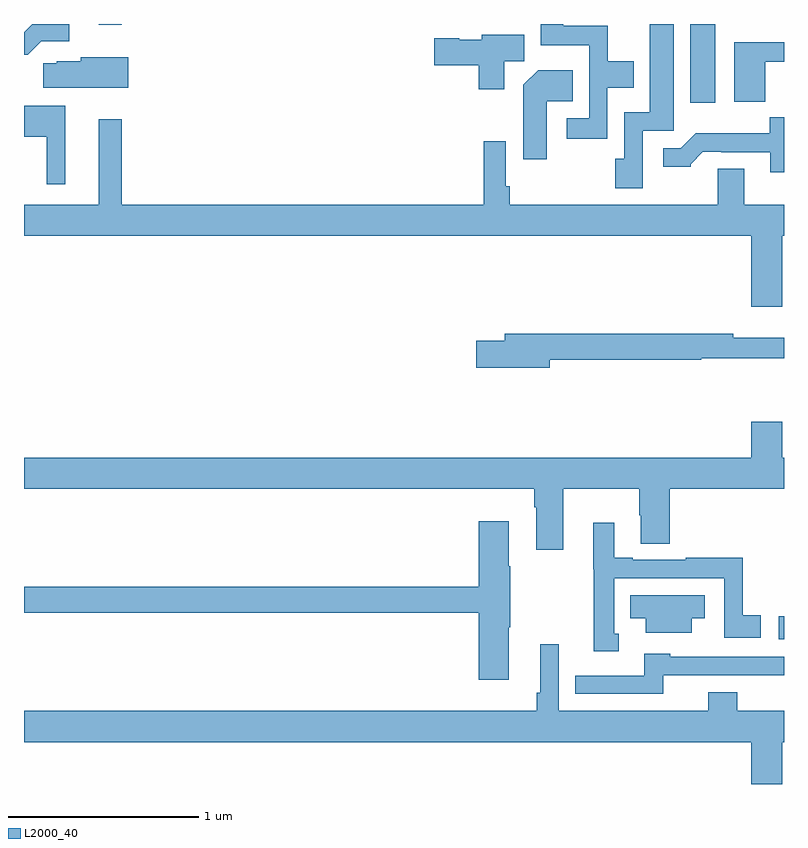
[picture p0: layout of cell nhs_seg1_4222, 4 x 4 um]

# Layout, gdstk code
import gdstk
lib = gdstk.Library(unit=1e-6, precision=1e-09)
def R(c, l, rs):  # rectangles x0, y0, x1, y1
    for r in rs: c.add(gdstk.rectangle(r[:2], r[2:], *l))
def P(c, l, *ps):  # polygons
    for p in ps: c.add(gdstk.Polygon(p, *l))
L2000_40 = (2000, 40)

nhs_seg1_4222 = lib.new_cell('nhs_seg1_4222')
R(nhs_seg1_4222, L2000_40, [(344.973,530.961,345,531.081), (344.507,533.784,344.638,534.199), (341.393,534.195,341.515,534.199)])
P(nhs_seg1_4222, L2000_40, [(341.091,534.108),(341.239,534.108),(341.239,534.199),(341.044,534.199),(341,534.155),(341,534.038),(341.021,534.038)],
  [(344.07,533.864),(344.209,533.864),(344.209,534.004),(344.073,534.004),(344.073,534.19),(343.837,534.19),(343.837,534.199),(343.721,534.199),(343.721,534.086),(343.974,534.086),(343.974,533.703),(343.857,533.703),(343.857,533.595),(344.07,533.595)],
  [(344.256,533.637),(344.419,533.637),(344.419,534.199),(344.294,534.199),(344.294,533.734),(344.16,533.734),(344.16,533.49),(344.113,533.49),(344.113,533.334),(344.256,533.334)],
  [(343.528,534.004),(343.633,534.004),(343.633,534.142),(343.41,534.142),(343.41,534.115),(343.29,534.115),(343.29,534.123),(343.158,534.123),(343.158,533.981),(343.394,533.981),(343.394,533.856),(343.528,533.856)],
  [(344.9,534.001),(345,534.001),(345,534.102),(344.738,534.102),(344.738,533.789),(344.9,533.789)],
  [(341.548,534.025),(341.298,534.025),(341.298,534.004),(341.172,534.004),(341.172,533.993),(341.1,533.993),(341.1,533.864),(341.548,533.864)],
  [(343.75,533.792),(343.889,533.792),(343.889,533.956),(343.706,533.956),(343.628,533.878),(343.628,533.487),(343.75,533.487)],
  [(341.218,533.77),(341,533.77),(341,533.606),(341.12,533.606),(341.12,533.355),(341.218,533.355)],
  [(345,533.707),(344.925,533.707),(344.925,533.623),(344.536,533.623),(344.457,533.544),(344.364,533.544),(344.364,533.447),(344.508,533.447),(344.508,533.462),(344.572,533.526),(344.671,533.526),(344.671,533.523),(344.927,533.523),(344.927,533.418),(345,533.418)],
  [(344.992,533.084),(345,533.084),(345,533.248),(344.791,533.248),(344.791,533.438),(344.651,533.438),(344.651,533.248),(343.556,533.248),(343.556,533.344),(343.536,533.344),(343.536,533.581),(343.42,533.581),(343.42,533.248),(341.515,533.248),(341.515,533.698),(341.393,533.698),(341.393,533.248),(341,533.248),(341,533.084),(344.828,533.084),(344.828,532.71),(344.992,532.71)],
  [(343.768,532.432),(344.564,532.432),(344.564,532.44),(345,532.44),(345,532.549),(344.732,532.549),(344.732,532.568),(343.529,532.568),(343.529,532.532),(343.38,532.532),(343.38,532.39),(343.768,532.39)],
  [(343.837,531.752),(344.239,531.752),(344.239,531.614),(344.246,531.614),(344.246,531.463),(344.399,531.463),(344.399,531.752),(345,531.752),(345,531.916),(344.992,531.916),(344.992,532.105),(344.828,532.105),(344.828,531.916),(341,531.916),(341,531.752),(343.685,531.752),(343.685,531.656),(343.697,531.656),(343.697,531.432),(343.837,531.432)],
  [(343.552,531.023),(343.56,531.023),(343.56,531.344),(343.552,531.344),(343.552,531.583),(343.394,531.583),(343.394,531.236),(341,531.236),(341,531.1),(343.394,531.1),(343.394,530.748),(343.552,530.748)],
  [(344.131,530.991),(344.106,530.991),(344.106,531.282),(344.685,531.282),(344.685,530.97),(344.878,530.97),(344.878,531.086),(344.784,531.086),(344.784,531.391),(344.482,531.391),(344.482,531.378),(344.203,531.378),(344.203,531.391),(344.107,531.391),(344.107,531.574),(343.997,531.574),(343.997,531.329),(343.998,531.329),(343.998,530.897),(344.131,530.897)],
  [(344.515,531.071),(344.584,531.071),(344.584,531.193),(344.191,531.193),(344.191,531.071),(344.273,531.071),(344.273,530.996),(344.515,530.996)],
  [(344.992,530.42),(345,530.42),(345,530.584),(344.753,530.584),(344.753,530.683),(344.6,530.683),(344.6,530.584),(343.815,530.584),(343.815,530.935),(343.718,530.935),(343.718,530.68),(343.699,530.68),(343.699,530.584),(341,530.584),(341,530.42),(344.828,530.42),(344.828,530.199),(344.992,530.199)],
  [(344.364,530.772),(344.836,530.772),(344.836,530.771),(345,530.771),(345,530.868),(344.4,530.868),(344.4,530.884),(344.264,530.884),(344.264,530.769),(343.9,530.769),(343.9,530.673),(344.364,530.673)])

lib.write_gds('nhs_seg1_4222.gds')
